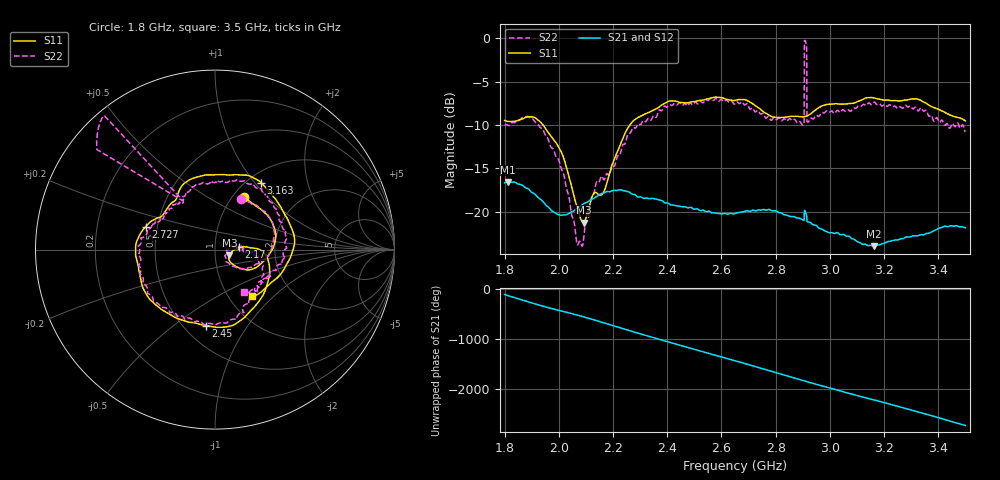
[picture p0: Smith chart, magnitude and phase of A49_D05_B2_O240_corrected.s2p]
! Created with skrf 1.9.0 (http://scikit-rf.org).
# Hz S RI R 50.0
!freq ReS11 ImS11 ReS21 ImS21 ReS12 ImS12 ReS22 ImS22
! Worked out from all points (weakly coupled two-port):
!   1601 points, 1.8 GHz to 3.5 GHz, reference 50 ohm
!   highest |S21| = -16.57 dB at 1.812 GHz (marker M1); lowest = -23.9 dB at 3.161 GHz (marker M2)
!   lowest |S11| = -21.2 dB at 2.091 GHz (marker M3), VSWR 1.19, Z = 58.6 - j3.8 ohm
!   |S11| at or under -10 dB: 1.942 GHz to 2.262 GHz (320.3 MHz wide, 15.2 % of centre)
!   |S22| runs from -24.0 to -0.3 dB; largest |S21 - S12| = 0.0023
!   S11 on the Smith chart (normalised r, x): 1.8 GHz: 1.13, +0.75; 2.17 GHz: 1.31, +0.04; 2.45 GHz: 0.64, -0.66; 2.727 GHz: 0.43, +0.13; 3.163 GHz: 1.15, +1.08; 3.5 GHz: 1.28, -0.75
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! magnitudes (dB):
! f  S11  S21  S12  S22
! 1.8 GHz  -9.5  -16.7  -16.7  -10.0
! 1.812 GHz  -9.6  -16.6  -16.6  -10.0
! 1.941 GHz  -10.0  -18.8  -18.8  -10.6
! 2.013 GHz  -13.4  -20.4  -20.4  -15.3
! 2.084 GHz  -21.0  -19.3  -19.2  -23.8
! 2.091 GHz  -21.2  -19.1  -19.1  -23.3
! 2.135 GHz  -17.8  -18.3  -18.3  -17.1
! 2.17 GHz  -17.4  -17.8  -17.8  -16.2
! 2.26 GHz  -10.1  -17.7  -17.7  -11.0
! 2.367 GHz  -8.0  -18.6  -18.6  -8.4
! 2.45 GHz  -7.4  -19.4  -19.4  -7.6
! 2.65 GHz  -7.2  -20.2  -20.2  -7.6
! 2.727 GHz  -7.8  -19.9  -19.9  -8.5
! 2.897 GHz  -9.1  -20.9  -20.9  -9.9
! 2.906 GHz  -9.0  -19.8  -19.8  -0.3
! 2.915 GHz  -9.0  -20.5  -20.5  -1.3
! 2.924 GHz  -8.8  -21.2  -21.2  -9.5
! 2.934 GHz  -8.6  -21.4  -21.3  -9.2
! 3.161 GHz  -6.9  -23.9  -23.9  -7.4
! 3.163 GHz  -6.9  -23.9  -23.9  -7.4
! 3.217 GHz  -7.2  -23.4  -23.4  -7.7
! 3.5 GHz  -9.5  -21.8  -21.8  -10.8
